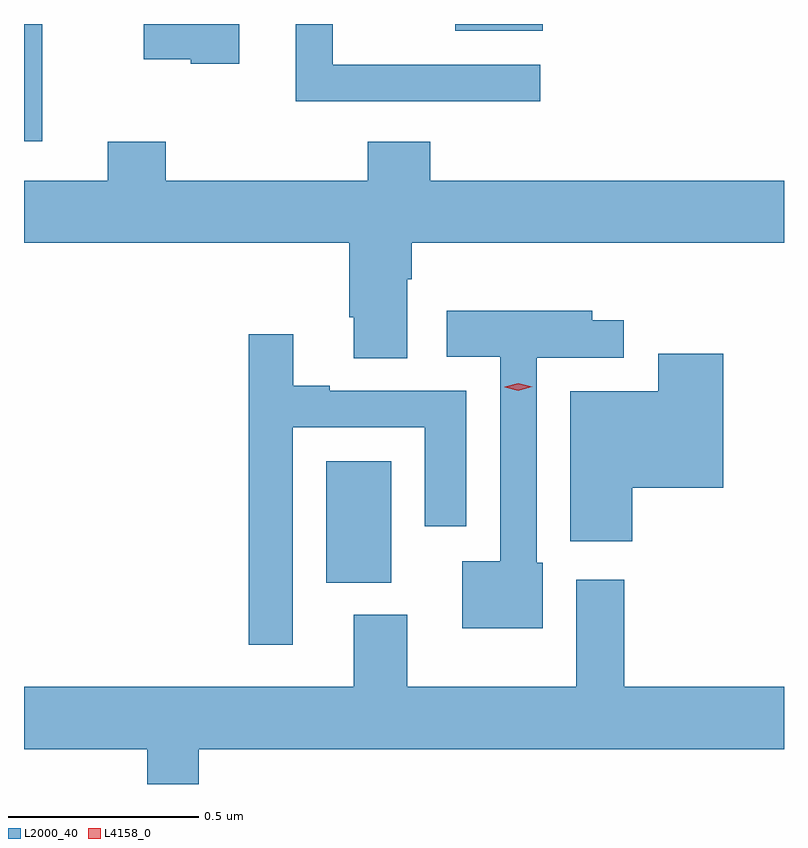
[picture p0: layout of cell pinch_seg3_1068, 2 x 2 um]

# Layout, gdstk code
import gdstk
lib = gdstk.Library(unit=1e-6, precision=1e-09)
def R(c, l, rs):  # rectangles x0, y0, x1, y1
    for r in rs: c.add(gdstk.rectangle(r[:2], r[2:], *l))
def P(c, l, *ps):  # polygons
    for p in ps: c.add(gdstk.Polygon(p, *l))
L2000_40 = (2000, 40)
L4158_0 = (4158, 0)

pinch_seg3_1068 = lib.new_cell('pinch_seg3_1068')
R(pinch_seg3_1068, L2000_40, [(349.619,692.03,349.789,692.35), (348.823,693.192,348.871,693.5), (349.958,693.482,350.188,693.5)])
P(pinch_seg3_1068, L2000_40, [(349.39,693.5),(349.138,693.5),(349.138,693.407),(349.262,693.407),(349.262,693.396),(349.39,693.396)],
  [(350.182,693.393),(349.635,693.393),(349.635,693.5),(349.538,693.5),(349.538,693.297),(350.182,693.297)],
  [(349.831,692.828),(349.844,692.828),(349.844,692.924),(350.823,692.924),(350.823,693.088),(349.892,693.088),(349.892,693.19),(349.727,693.19),(349.727,693.088),(349.196,693.088),(349.196,693.19),(349.043,693.19),(349.043,693.088),(348.823,693.088),(348.823,692.924),(349.679,692.924),(349.679,692.728),(349.691,692.728),(349.691,692.62),(349.831,692.62)],
  [(350.188,692.082),(350.172,692.082),(350.172,692.622),(350.401,692.622),(350.401,692.72),(350.319,692.72),(350.319,692.746),(349.935,692.746),(349.935,692.624),(350.076,692.624),(350.076,692.086),(349.976,692.086),(349.976,691.91),(350.188,691.91)],
  [(349.53,692.439),(349.877,692.439),(349.877,692.178),(349.987,692.178),(349.987,692.535),(349.627,692.535),(349.627,692.548),(349.531,692.548),(349.531,692.683),(349.414,692.683),(349.414,691.866),(349.53,691.866)],
  [(350.423,692.279),(350.663,692.279),(350.663,692.632),(350.492,692.632),(350.492,692.533),(350.261,692.533),(350.261,692.139),(350.423,692.139)],
  [(349.283,691.592),(350.823,691.592),(350.823,691.756),(350.402,691.756),(350.402,692.038),(350.276,692.038),(350.276,691.756),(349.831,691.756),(349.831,691.945),(349.691,691.945),(349.691,691.756),(348.823,691.756),(348.823,691.592),(349.147,691.592),(349.147,691.5),(349.283,691.5)])
P(pinch_seg3_1068, L4158_0, [(350.124,692.535),(350.088,692.544),(350.088,692.545),(350.088,692.545),(350.124,692.555),(350.16,692.546),(350.16,692.546),(350.16,692.546)])

lib.write_gds('pinch_seg3_1068.gds')
